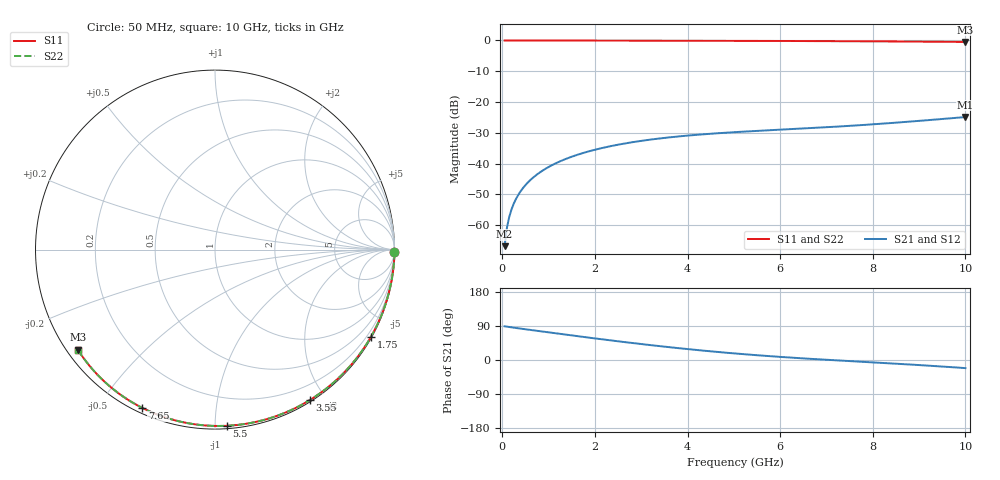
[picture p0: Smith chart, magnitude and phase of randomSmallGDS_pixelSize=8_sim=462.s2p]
! freq	dB(S11)	phase(S11)	dB(S12)	phase(S12)
!  dB(S21)	phase(S21)	dB(S22)	phase(S22)
!S-par simulation data
#  GHz  S  DB  R 50
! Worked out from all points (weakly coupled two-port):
!   200 points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, 50 MHz to 10 GHz, reference 50 ohm
!   highest |S21| = -24.89 dB at 10 GHz (marker M1); lowest = -66.8 dB at 50 MHz (marker M2)
!   lowest |S11| = -0.5 dB at 10 GHz (marker M3), VSWR 36.11, Z = 1.53 - j16.3 ohm
!   |S11| at or under -10 dB: nowhere
!   |S22| runs from -0.5 to 0.0 dB; largest |S21 - S12| = 0
!   S11 on the Smith chart (normalised r, x): 50 MHz: open; 1.75 GHz: 0.03, -3.83; 3.55 GHz: 0.02, -1.81; 5.5 GHz: 0.02, -1.07; 7.65 GHz: 0.02, -0.64; 10 GHz: 0.03, -0.33
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0.05  -0.00 -0.9  -66.82 89.0  -66.82 89.0  -0.00 -0.9
0.1  -0.00 -1.7  -60.82 88.0  -60.82 88.0  -0.00 -1.7
0.15  -0.00 -2.6  -57.31 87.0  -57.31 87.0  -0.00 -2.6
0.2  -0.00 -3.4  -54.84 86.1  -54.84 86.1  -0.00 -3.4
0.25  -0.00 -4.3  -52.92 85.2  -52.92 85.2  -0.00 -4.3
0.35  -0.00 -5.9  -50.04 83.5  -50.04 83.5  -0.00 -5.9
0.5  -0.01 -8.5  -46.98 81.1  -46.98 81.1  -0.01 -8.5
0.7  -0.01 -11.8  -44.11 77.8  -44.11 77.8  -0.01 -11.8
1  -0.02 -16.9  -41.10 73.0  -41.10 73.0  -0.02 -16.9
1.35  -0.03 -22.7  -38.61 67.3  -38.61 67.3  -0.03 -22.7
1.75  -0.04 -29.2  -36.53 60.9  -36.53 60.9  -0.04 -29.2
2.5  -0.05 -41.4  -33.86 49.4  -33.86 49.4  -0.05 -41.3
3.4  -0.08 -55.4  -31.83 36.6  -31.83 36.6  -0.08 -55.4
3.55  -0.08 -57.7  -31.57 34.6  -31.57 34.6  -0.08 -57.7
4.3  -0.10 -69.0  -30.53 25.2  -30.53 25.2  -0.10 -69.0
5.05  -0.12 -79.8  -29.76 17.0  -29.76 17.0  -0.12 -79.8
5.5  -0.14 -86.1  -29.38 12.6  -29.38 12.6  -0.14 -86.1
6.7  -0.20 -102.3  -28.44 2.7  -28.44 2.7  -0.20 -102.3
7.65  -0.26 -114.6  -27.60 -3.8  -27.60 -3.8  -0.26 -114.6
8.35  -0.31 -123.5  -26.87 -8.6  -26.87 -8.6  -0.31 -123.4
9.2  -0.39 -134.0  -25.88 -14.9  -25.88 -14.9  -0.39 -134.0
10  -0.48 -143.9  -24.89 -21.4  -24.89 -21.4  -0.48 -143.9
